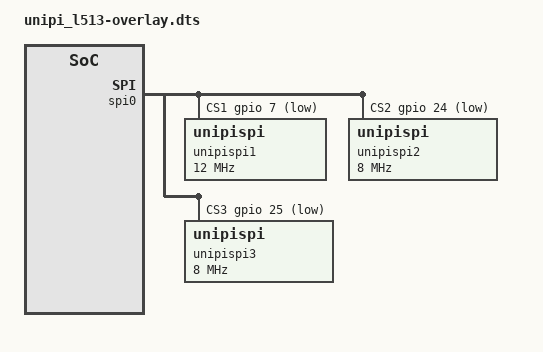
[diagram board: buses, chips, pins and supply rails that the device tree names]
/dts-v1/;

/plugin/;

/ {
	fragment@0 {
		target = <&spi0>;
		__overlay__ {
			status = "okay";
			pinctrl-0 = <&spi0_pins>, <&spi0_cs_pins4>;
			cs-gpios = <&gpio 8 1>, <&gpio 7 1>, <&gpio 24 1>, <&gpio 25 1>;
			#address-cells = <1>;
			#size-cells = <0>;unipispi1: unipispi@1 {
				compatible = "unipispi";
				reg = <1>;
				spi-max-frequency = <12000000>;
				status = "okay";
				modbus-address = <1>;
				neuron-board-index = <0>;
				neuron-probe-always-succeeds = <0>;
				#address-cells = <1>;
				#size-cells = <0>;
				iogroup1: iogroup@1 {
					reg = <1>;
					compatible = "unipi,unipi-mfd", "iogroup";
					fw_variant = <0x0010>, <0x0020>, <0x0030>;
					fw_name = "B-1000-1", "B-1000-2", "B-1000-3";
					board_name = "B-1000-1";
					sys_board_name = "B_1000";
					cycle_counter = <1032>;
					master_watchdog_enable = <6>;

					di {
						compatible = "unipi,gpio-di";
						gpio-controller;
						#gpio-cells = <2>;
						gpio-line-names = "DI1_1", "DI1_2", "DI1_3", "DI1_4";
						ngpio = <4>;
						value-reg = <0>;
						debounce-reg = <1010>;
						counter-reg = <8>;
					};
					do {
						compatible = "unipi,gpio-do";
						ngpio = <4>;
						value-coil = <0>;
						gpio-controller;
						#gpio-cells = <2>;
						gpio-line-names = "DO1_1", "DO1_2", "DO1_3", "DO1_4";
					};
					aio {
						compatible = "unipi,aio_legacy";
						ai-value-reg = <3>;
						ai-mode-reg = <1024>;
						ao-value-reg = <2>;
						ao-mode-reg = <1019>;
					};
					uart {
						compatible = "unipi,uart";
						port-count = <1>;
						port-line = <0>;
					};
					led {
						compatible = "unipi,leds";
						coil-range = <8 4>;
						label-prefix = "unipi:green:uled-x";
					};
					sysled {
						compatible = "unipi,leds";
						coil-range = <12 6>;
						label-prefix = "unipi:green:sysled-x";
					};
				};
			};
		unipispi2: unipispi@2 {
				compatible = "unipispi";
				reg = <2>;
				spi-max-frequency = <8000000>;
				status = "okay";
				modbus-address = <2>;
				neuron-board-index = <1>;
				neuron-probe-always-succeeds = <0>;
				#address-cells = <1>;
				#size-cells = <0>;
				iogroup2: iogroup@2 {
					reg = <2>;
					compatible = "unipi,unipi-mfd", "iogroup";
					fw_variant = <0x0F10>;
					fw_name = "E-4Ai4Ao_U-6Di5Ro-1";
					board_name = "E-4Ai4Ao-1";
					sys_board_name = "E_4Ai4Ao_U_6Di5Ro";
					cycle_counter = <1024>;
					master_watchdog_enable = <6>;

					di {
						compatible = "unipi,gpio-di";
						gpio-controller;
						#gpio-cells = <2>;
						gpio-line-names = "DI1_1","DI1_2","DI1_3","DI1_4","DI1_5","DI1_6";
						ngpio = <6>;
						value-reg = <0>;
						debounce-reg = <1010>;
						counter-reg = <16>;
					};
					do {
						compatible = "unipi,gpio-ro";
						ngpio = <5>;
						value-coil = <0>;
						gpio-controller;
						#gpio-cells = <2>;
						gpio-line-names = "RO1_1","RO1_2","RO1_3","RO1_4","RO1_5";
					};
					ai_chip {
						compatible = "unipi,ai";
						io-count = <4>;
						io-value-reg = <6>;
						io-mode-reg = <1019>;
					};
					ao_chip {
						compatible = "unipi,ao";
						io-count = <4>;
						io-value-reg = <2>;
					};
					uart {
						compatible = "unipi,uart";
						port-count = <1>;
						port-line = <1>;
					};
				};
			};
		unipispi3: unipispi@3 {
				compatible = "unipispi";
				reg = <3>;
				spi-max-frequency = <8000000>;
				status = "okay";
				modbus-address = <3>;
				neuron-board-index = <2>;
				neuron-probe-always-succeeds = <0>;
				#address-cells = <1>;
				#size-cells = <0>;
				iogroup3: iogroup@3 {
					reg = <3>;
					compatible = "unipi,unipi-mfd", "iogroup";
					fw_variant = <0x0F10>;
					fw_name = "E-4Ai4Ao_U-6Di5Ro-1";
					board_name = "E-4Ai4Ao-1";
					sys_board_name = "E_4Ai4Ao_U_6Di5Ro";
					cycle_counter = <1024>;
					master_watchdog_enable = <6>;

					di {
						compatible = "unipi,gpio-di";
						gpio-controller;
						#gpio-cells = <2>;
						gpio-line-names = "DI2_1","DI2_2","DI2_3","DI2_4","DI2_5","DI2_6";
						ngpio = <6>;
						value-reg = <0>;
						debounce-reg = <1010>;
						counter-reg = <16>;
					};
					do {
						compatible = "unipi,gpio-ro";
						ngpio = <5>;
						value-coil = <0>;
						gpio-controller;
						#gpio-cells = <2>;
						gpio-line-names = "RO2_1","RO2_2","RO2_3","RO2_4","RO2_5";
					};
					ai_chip {
						compatible = "unipi,ai";
						io-count = <4>;
						io-value-reg = <6>;
						io-mode-reg = <1019>;
					};
					ao_chip {
						compatible = "unipi,ao";
						io-count = <4>;
						io-value-reg = <2>;
					};
					uart {
						compatible = "unipi,uart";
						port-count = <1>;
						port-line = <2>;
					};
				};
			};
		
		};
	};

	/* the cs and interrupt pin of the neuron-controller */
	fragment@1 {
		target = <&gpio>;
		__overlay__ {
			spi0_cs_pins4: spi0_cs_pins4 {
				brcm,pins = <8 7 24 25>;
				brcm,function = <1>;
				brcm,pull = <0>;
			};
			pinctrl_slotirq1: pinctrl_slotirq1 {
				brcm,pins = <27>;
				brcm,function = <0>;
				brcm,pull = <1>;
			};
			pinctrl_slotirq2: pinctrl_slotirq2 {
				brcm,pins = <23>;
				brcm,function = <0>;
				brcm,pull = <1>;
			};
			pinctrl_slotirq3: pinctrl_slotirq3 {
				brcm,pins = <22>;
				brcm,function = <0>;
				brcm,pull = <1>;
			};
		};
	};

	fragment@3 {
		target = <&spidev1>;
		__overlay__ {
			status = "disabled";
		};
	};
	

	__overrides__ {probe1-succeeds = <&unipispi1>,"neuron-probe-always-succeeds:0";
			frequency1 = <&unipispi1>,"spi-max-frequency:0";probe2-succeeds = <&unipispi2>,"neuron-probe-always-succeeds:0";
			frequency2 = <&unipispi2>,"spi-max-frequency:0";probe3-succeeds = <&unipispi3>,"neuron-probe-always-succeeds:0";
			frequency3 = <&unipispi3>,"spi-max-frequency:0";};
};

&iogroup1 {
	pinctrl-names = "default";
	pinctrl-0 = <&pinctrl_slotirq1>; 
	interrupt-parent = <&gpio>;
	interrupts = <27 1>; /* EDGE RISING*/
};






